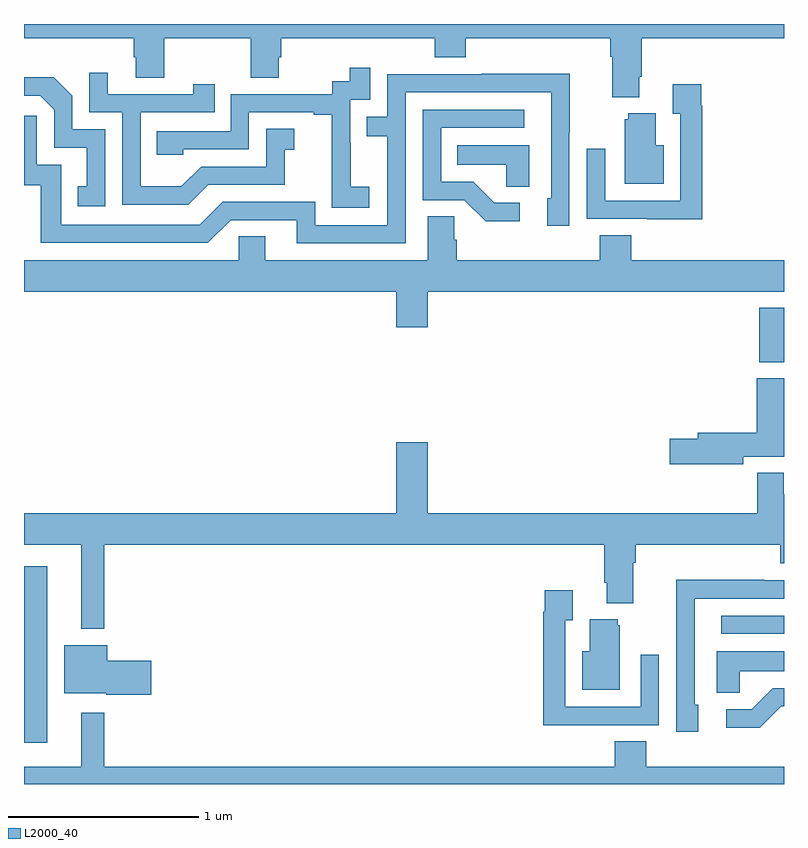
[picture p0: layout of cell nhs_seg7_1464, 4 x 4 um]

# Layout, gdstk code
import gdstk
lib = gdstk.Library(unit=1e-6, precision=1e-09)
def R(c, l, rs):  # rectangles x0, y0, x1, y1
    for r in rs: c.add(gdstk.rectangle(r[:2], r[2:], *l))
def P(c, l, *ps):  # polygons
    for p in ps: c.add(gdstk.Polygon(p, *l))
L2000_40 = (2000, 40)

nhs_seg7_1464 = lib.new_cell('nhs_seg7_1464')
R(nhs_seg7_1464, L2000_40, [(214.671,1022.79,215,1022.886), (214.871,1024.221,215,1024.507)])
P(nhs_seg7_1464, L2000_40, [(214.237,1025.722),(214.25,1025.722),(214.25,1025.924),(215,1025.924),(215,1026),(211,1026),(211,1025.924),(211.577,1025.924),(211.577,1025.826),(211.589,1025.826),(211.589,1025.716),(211.737,1025.716),(211.737,1025.924),(212.194,1025.924),(212.194,1025.716),(212.341,1025.716),(212.341,1025.826),(212.354,1025.826),(212.354,1025.924),(213.161,1025.924),(213.161,1025.825),(213.326,1025.825),(213.326,1025.924),(214.085,1025.924),(214.085,1025.828),(214.097,1025.828),(214.097,1025.615),(214.237,1025.615)],
  [(212.818,1025.143),(212.72,1025.143),(212.72,1025.372),(212.718,1025.372),(212.718,1025.601),(212.823,1025.601),(212.823,1025.77),(212.715,1025.77),(212.715,1025.7),(212.622,1025.7),(212.622,1025.631),(212.088,1025.631),(212.088,1025.436),(211.699,1025.436),(211.699,1025.313),(211.839,1025.313),(211.839,1025.34),(212.184,1025.34),(212.184,1025.535),(212.525,1025.535),(212.525,1025.523),(212.621,1025.523),(212.621,1025.239),(212.62,1025.239),(212.62,1025.033),(212.818,1025.033)],
  [(211.969,1025.154),(212.373,1025.154),(212.373,1025.339),(212.422,1025.339),(212.422,1025.449),(212.274,1025.449),(212.274,1025.25),(211.932,1025.25),(211.828,1025.146),(211.614,1025.146),(211.614,1025.535),(212.003,1025.535),(212.003,1025.683),(211.892,1025.683),(211.892,1025.631),(211.441,1025.631),(211.441,1025.743),(211.344,1025.743),(211.344,1025.535),(211.518,1025.535),(211.518,1025.049),(211.864,1025.049)],
  [(213.009,1025.64),(213.774,1025.64),(213.774,1025.082),(213.755,1025.082),(213.755,1024.938),(213.87,1024.938),(213.87,1025.431),(213.873,1025.431),(213.873,1025.738),(213.409,1025.738),(213.409,1025.736),(212.913,1025.736),(212.913,1025.511),(212.803,1025.511),(212.803,1025.41),(212.913,1025.41),(212.913,1024.941),(212.532,1024.941),(212.532,1025.064),(212.046,1025.064),(211.926,1024.944),(211.197,1024.944),(211.197,1025.259),(211.068,1025.259),(211.068,1025.518),(211,1025.518),(211,1025.151),(211.089,1025.151),(211.089,1024.848),(211.968,1024.848),(212.088,1024.968),(212.435,1024.968),(212.435,1024.845),(213.009,1024.845)],
  [(211.428,1025.445),(211.254,1025.445),(211.254,1025.622),(211.156,1025.72),(211,1025.72),(211,1025.622),(211.086,1025.622),(211.158,1025.55),(211.158,1025.349),(211.331,1025.349),(211.331,1025.145),(211.282,1025.145),(211.282,1025.04),(211.428,1025.04)],
  [(214.571,1025.57),(214.564,1025.57),(214.564,1025.683),(214.415,1025.683),(214.415,1025.527),(214.455,1025.527),(214.455,1025.07),(214.059,1025.07),(214.059,1025.344),(213.963,1025.344),(213.963,1024.974),(214.279,1024.974),(214.279,1024.973),(214.571,1024.973)],
  [(213.61,1025.058),(213.475,1025.058),(213.364,1025.169),(213.195,1025.169),(213.195,1025.454),(213.634,1025.454),(213.634,1025.55),(213.099,1025.55),(213.099,1025.073),(213.318,1025.073),(213.431,1024.961),(213.61,1024.961)],
  [(214.366,1025.362),(214.324,1025.362),(214.324,1025.53),(214.181,1025.53),(214.181,1025.499),(214.163,1025.499),(214.163,1025.159),(214.366,1025.159)],
  [(213.658,1025.362),(213.28,1025.362),(213.28,1025.258),(213.537,1025.258),(213.537,1025.143),(213.658,1025.143)],
  [(213.124,1024.592),(215,1024.592),(215,1024.756),(214.196,1024.756),(214.196,1024.889),(214.031,1024.889),(214.031,1024.756),(213.278,1024.756),(213.278,1024.865),(213.264,1024.865),(213.264,1024.988),(213.125,1024.988),(213.125,1024.756),(212.269,1024.756),(212.269,1024.883),(212.13,1024.883),(212.13,1024.756),(211,1024.756),(211,1024.592),(212.96,1024.592),(212.96,1024.404),(213.124,1024.404)],
  [(214.786,1023.722),(215,1023.722),(215,1024.136),(214.856,1024.136),(214.856,1023.848),(214.547,1023.848),(214.547,1023.818),(214.398,1023.818),(214.398,1023.683),(214.786,1023.683)],
  [(211.423,1023.26),(214.055,1023.26),(214.055,1023.058),(214.067,1023.058),(214.067,1022.951),(214.207,1022.951),(214.207,1023.164),(214.22,1023.164),(214.22,1023.26),(214.979,1023.26),(214.979,1023.161),(215,1023.161),(215,1023.525),(214.999,1023.525),(214.999,1023.637),(214.859,1023.637),(214.859,1023.424),(213.124,1023.424),(213.124,1023.799),(212.96,1023.799),(212.96,1023.424),(211,1023.424),(211,1023.26),(211.301,1023.26),(211.301,1022.816),(211.423,1022.816)],
  [(211.123,1023.145),(211,1023.145),(211,1022.87),(211.002,1022.87),(211.002,1022.217),(211.123,1022.217)],
  [(214.549,1022.418),(214.53,1022.418),(214.53,1022.976),(215,1022.976),(215,1023.072),(214.895,1023.072),(214.895,1023.074),(214.432,1023.074),(214.432,1022.767),(214.434,1022.767),(214.434,1022.274),(214.549,1022.274)],
  [(214.025,1022.31),(214.341,1022.31),(214.341,1022.68),(214.245,1022.68),(214.245,1022.406),(213.849,1022.406),(213.849,1022.863),(213.889,1022.863),(213.889,1023.019),(213.741,1023.019),(213.741,1022.906),(213.733,1022.906),(213.733,1022.309),(214.025,1022.309)],
  [(214.135,1022.835),(214.124,1022.835),(214.124,1022.866),(213.977,1022.866),(213.977,1022.698),(213.938,1022.698),(213.938,1022.495),(214.135,1022.495)],
  [(211.669,1022.648),(211.438,1022.648),(211.438,1022.731),(211.211,1022.731),(211.211,1022.477),(211.434,1022.477),(211.434,1022.47),(211.669,1022.47)],
  [(214.767,1022.594),(215,1022.594),(215,1022.698),(214.646,1022.698),(214.646,1022.479),(214.767,1022.479)],
  [(214.986,1022.409),(215,1022.409),(215,1022.505),(214.94,1022.505),(214.829,1022.394),(214.695,1022.394),(214.695,1022.297),(214.873,1022.297)],
  [(211.301,1022.374),(211.301,1022.092),(211,1022.092),(211,1022),(215,1022),(215,1022.092),(214.274,1022.092),(214.274,1022.225),(214.109,1022.225),(214.109,1022.092),(211.423,1022.092),(211.423,1022.374)])

lib.write_gds('nhs_seg7_1464.gds')
